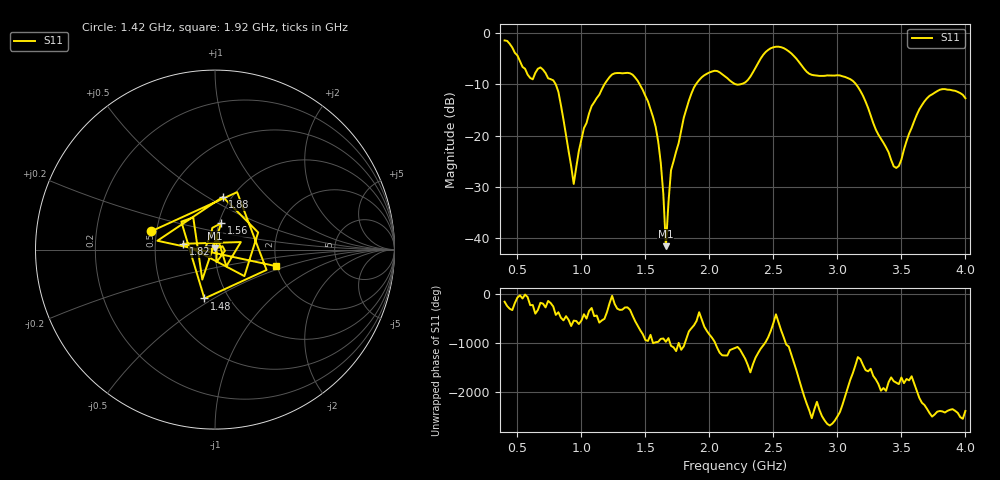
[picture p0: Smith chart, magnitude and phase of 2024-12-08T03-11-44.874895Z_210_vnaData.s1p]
!Created with skrf (http://scikit-rf.org).
# Hz S RI R 50.0
!freq ReS11 ImS11
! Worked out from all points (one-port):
!   181 points, 400 MHz to 4 GHz, reference 50 ohm
!   lowest |S11| = -41.6 dB at 1.66 GHz (marker M1), VSWR 1.02, Z = 49.8 + j0.794 ohm
!   |S11| at or under -10 dB: 800.3 MHz to 1.179 GHz (378.9 MHz wide, 38.3 % of centre); 1.455 GHz to 1.894 GHz (438.7 MHz wide, 26.2 % of centre); 3.146 GHz to end of sweep (the widest 3 of 4)
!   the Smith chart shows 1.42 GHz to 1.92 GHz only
!   S11 on the Smith chart (normalised r, x): 1.42 GHz: 0.47, +0.11; 1.48 GHz: 0.77, -0.46; 1.56 GHz: 1.02, +0.31; 1.82 GHz: 0.70, +0.05; 1.88 GHz: 0.91, +0.59; 1.92 GHz: 1.96, -0.41
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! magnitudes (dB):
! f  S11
! 400 MHz  -1.4
! 600 MHz  -8.7
! 680 MHz  -6.7
! 780 MHz  -9.2
! 860 MHz  -16.9
! 940 MHz  -29.5
! 1.02 GHz  -18.5
! 1.08 GHz  -14.2
! 1.3 GHz  -7.8
! 1.42 GHz  -8.6
! 1.48 GHz  -11.1
! 1.56 GHz  -16.4
! 1.62 GHz  -25.3
! 1.66 GHz  -41.6
! 1.7 GHz  -26.8
! 1.76 GHz  -21.5
! 1.82 GHz  -14.8
! 1.88 GHz  -10.6
! 1.92 GHz  -9.1
! 2.2 GHz  -9.9
! 2.48 GHz  -2.9
! 2.66 GHz  -4.4
! 2.8 GHz  -8.1
! 3.1 GHz  -9.0
! 3.44 GHz  -26.0
! 3.56 GHz  -19.6
! 3.72 GHz  -12.2
! 4 GHz  -12.7
